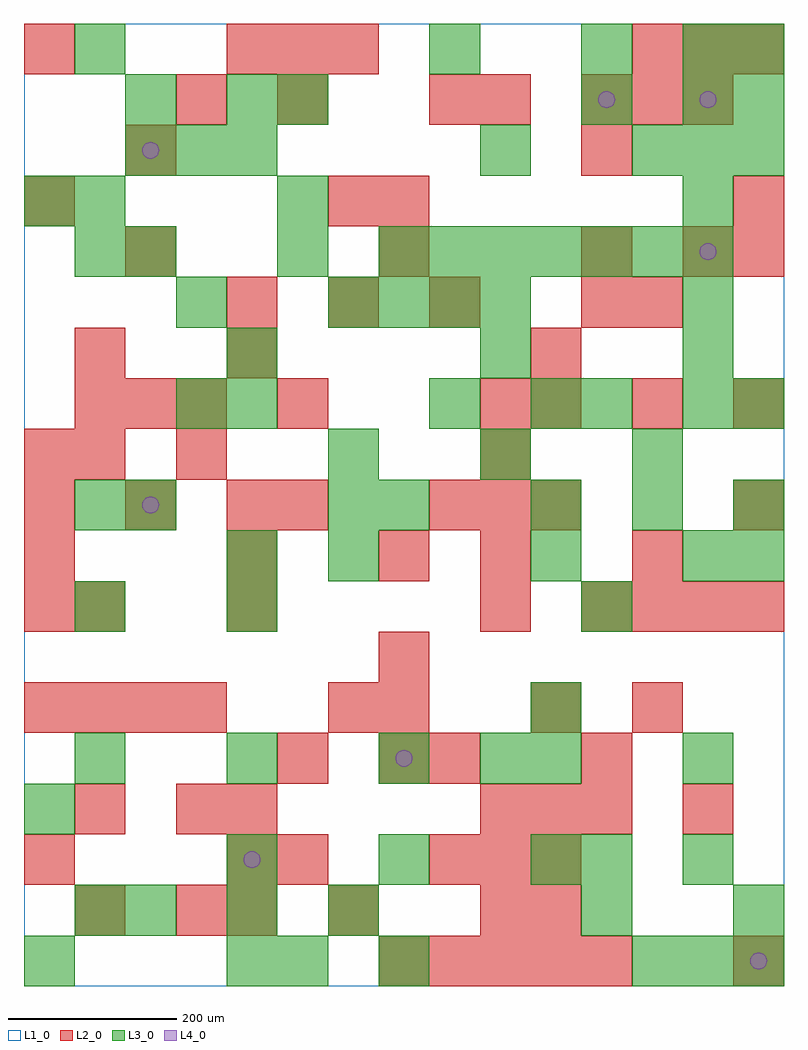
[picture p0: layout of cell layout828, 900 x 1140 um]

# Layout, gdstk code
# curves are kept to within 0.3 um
import gdstk
lib = gdstk.Library(unit=1e-6, precision=1e-09)
def R(c, l, rs):  # rectangles x0, y0, x1, y1
    for r in rs: c.add(gdstk.rectangle(r[:2], r[2:], *l))
def A(c, l, x, y, w, h, nx, ny, dx, dy):  # array of equal rectangles
    R(c, l, [(x+i*dx, y+j*dy, x+i*dx+w, y+j*dy+h) for i in range(nx) for j in range(ny)])
def P(c, l, *ps):  # polygons
    for p in ps: c.add(gdstk.Polygon(p, *l))
L1_0 = (1, 0)
L2_0 = (2, 0)
L3_0 = (3, 0)
L4_0 = (4, 0)

layout828 = lib.new_cell('layout828')
R(layout828, L1_0, [(0,0,900,1140)])
A(layout828, L2_0, 420, 0, 60, 60, 5, 1, 60, 0)
A(layout828, L2_0, 240, 60, 60, 60, 1, 3, 0, 60)
A(layout828, L2_0, 480, 120, 60, 60, 3, 2, 60, 420)
A(layout828, L2_0, 180, 180, 60, 60, 1, 3, 0, 420)
A(layout828, L2_0, 540, 180, 60, 60, 3, 1, 60, 0)
A(layout828, L2_0, 420, 240, 60, 60, 1, 3, 0, 60)
A(layout828, L2_0, 0, 300, 60, 60, 4, 1, 60, 0)
A(layout828, L2_0, 660, 420, 60, 60, 4, 1, 60, 0)
A(layout828, L2_0, 0, 540, 60, 60, 3, 1, 120, 0)
A(layout828, L2_0, 60, 660, 60, 60, 3, 1, 60, 0)
A(layout828, L2_0, 600, 660, 60, 60, 3, 1, 120, 0)
A(layout828, L2_0, 240, 780, 60, 60, 3, 1, 120, 0)
A(layout828, L2_0, 660, 1020, 60, 60, 3, 1, 60, 0)
A(layout828, L2_0, 240, 1080, 60, 60, 3, 1, 60, 0)
A(layout828, L2_0, 720, 1080, 60, 60, 3, 1, 60, 0)
R(layout828, L2_0, [(840,0,900,60), (60,60,120,120), (180,60,240,120), (360,60,420,120), (540,60,600,120), (600,60,660,120), (0,120,60,180), (300,120,360,180), (60,180,120,240), (780,180,840,240), (300,240,360,300), (480,240,540,300), (660,240,720,300), (360,300,420,360), (600,300,660,360), (720,300,780,360), (0,420,60,480), (60,420,120,480), (240,420,300,480), (540,420,600,480), (0,480,60,540), (240,480,300,540), (420,480,480,540), (540,480,600,540), (720,480,780,540), (300,540,360,600), (840,540,900,600), (0,600,60,660), (60,600,120,660), (540,600,600,660), (300,660,360,720), (540,660,600,720), (60,720,120,780), (240,720,300,780), (600,720,660,780), (660,780,720,840), (720,780,780,840), (120,840,180,900), (420,840,480,900), (660,840,720,900), (780,840,840,900), (840,840,900,900), (0,900,60,960), (360,900,420,960), (420,900,480,960), (840,900,900,960), (120,960,180,1020), (660,960,720,1020), (300,1020,360,1080), (480,1020,540,1080), (540,1020,600,1080), (0,1080,60,1140)])
A(layout828, L3_0, 720, 0, 60, 60, 3, 2, 60, 960)
A(layout828, L3_0, 120, 60, 60, 60, 3, 1, 120, 0)
A(layout828, L3_0, 240, 120, 60, 60, 3, 1, 180, 0)
A(layout828, L3_0, 60, 240, 60, 60, 3, 1, 180, 0)
A(layout828, L3_0, 600, 300, 60, 60, 1, 3, 0, 180)
A(layout828, L3_0, 600, 540, 60, 60, 3, 1, 120, 0)
A(layout828, L3_0, 360, 600, 60, 60, 3, 1, 180, 0)
A(layout828, L3_0, 780, 660, 60, 60, 1, 3, 0, 60)
A(layout828, L3_0, 360, 780, 60, 60, 4, 1, 60, 0)
A(layout828, L3_0, 420, 840, 60, 60, 7, 1, 60, 0)
A(layout828, L3_0, 120, 960, 60, 60, 3, 1, 60, 0)
R(layout828, L3_0, [(0,0,60,60), (240,0,300,60), (300,0,360,60), (420,0,480,60), (60,60,120,120), (660,60,720,120), (840,60,900,120), (660,120,720,180), (780,120,840,180), (0,180,60,240), (540,240,600,300), (600,240,660,300), (780,240,840,300), (60,420,120,480), (240,420,300,480), (660,420,720,480), (240,480,300,540), (360,480,420,540), (780,480,840,540), (840,480,900,540), (60,540,120,600), (120,540,180,600), (360,540,420,600), (420,540,480,600), (180,660,240,720), (240,660,300,720), (480,660,540,720), (660,660,720,720), (840,660,900,720), (240,720,300,780), (540,720,600,780), (180,780,240,840), (60,840,120,900), (120,840,180,900), (300,840,360,900), (0,900,60,960), (60,900,120,960), (300,900,360,960), (780,900,840,960), (540,960,600,1020), (120,1020,180,1080), (240,1020,300,1080), (300,1020,360,1080), (660,1020,720,1080), (780,1020,840,1080), (840,1020,900,1080), (60,1080,120,1140), (480,1080,540,1140), (660,1080,720,1140), (780,1080,840,1140), (840,1080,900,1140)])
P(layout828, L4_0, [(160,570),(159.239,573.827),(157.071,577.071),(153.827,579.239),(150,580),(146.173,579.239),(142.929,577.071),(140.761,573.827),(140,570),(140.761,566.173),(142.929,562.929),(146.173,560.761),(150,560),(153.827,560.761),(157.071,562.929),(159.239,566.173)],
  [(160,990),(159.239,993.827),(157.071,997.071),(153.827,999.239),(150,1000),(146.173,999.239),(142.929,997.071),(140.761,993.827),(140,990),(140.761,986.173),(142.929,982.929),(146.173,980.761),(150,980),(153.827,980.761),(157.071,982.929),(159.239,986.173)],
  [(280,150),(279.239,153.827),(277.071,157.071),(273.827,159.239),(270,160),(266.173,159.239),(262.929,157.071),(260.761,153.827),(260,150),(260.761,146.173),(262.929,142.929),(266.173,140.761),(270,140),(273.827,140.761),(277.071,142.929),(279.239,146.173)],
  [(460,270),(459.239,273.827),(457.071,277.071),(453.827,279.239),(450,280),(446.173,279.239),(442.929,277.071),(440.761,273.827),(440,270),(440.761,266.173),(442.929,262.929),(446.173,260.761),(450,260),(453.827,260.761),(457.071,262.929),(459.239,266.173)],
  [(700,1050),(699.239,1053.827),(697.071,1057.071),(693.827,1059.239),(690,1060),(686.173,1059.239),(682.929,1057.071),(680.761,1053.827),(680,1050),(680.761,1046.173),(682.929,1042.929),(686.173,1040.761),(690,1040),(693.827,1040.761),(697.071,1042.929),(699.239,1046.173)],
  [(820,870),(819.239,873.827),(817.071,877.071),(813.827,879.239),(810,880),(806.173,879.239),(802.929,877.071),(800.761,873.827),(800,870),(800.761,866.173),(802.929,862.929),(806.173,860.761),(810,860),(813.827,860.761),(817.071,862.929),(819.239,866.173)],
  [(820,1050),(819.239,1053.827),(817.071,1057.071),(813.827,1059.239),(810,1060),(806.173,1059.239),(802.929,1057.071),(800.761,1053.827),(800,1050),(800.761,1046.173),(802.929,1042.929),(806.173,1040.761),(810,1040),(813.827,1040.761),(817.071,1042.929),(819.239,1046.173)],
  [(880,30),(879.239,33.827),(877.071,37.071),(873.827,39.239),(870,40),(866.173,39.239),(862.929,37.071),(860.761,33.827),(860,30),(860.761,26.173),(862.929,22.929),(866.173,20.761),(870,20),(873.827,20.761),(877.071,22.929),(879.239,26.173)])

lib.write_gds('layout828.gds')
